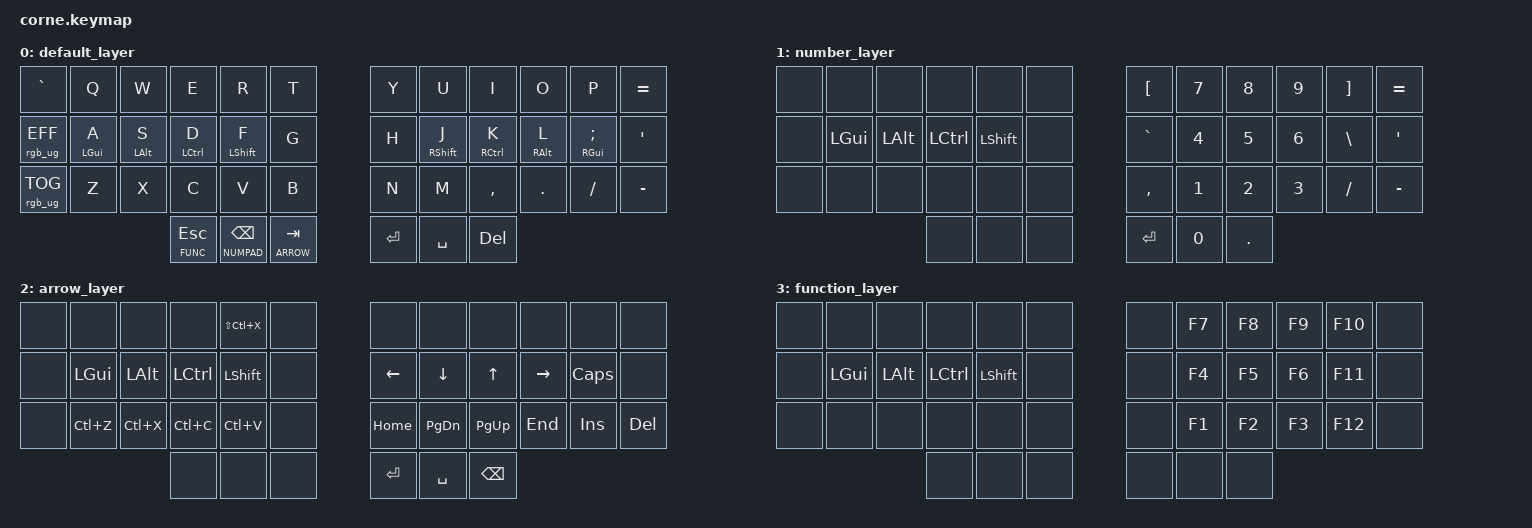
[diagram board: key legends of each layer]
/*
 * Copyright (c) 2020 The ZMK Contributors
 *
 * SPDX-License-Identifier: MIT
 */

#include <behaviors.dtsi>
#include <dt-bindings/zmk/keys.h>
#include <dt-bindings/zmk/bt.h>
#include <dt-bindings/zmk/rgb.h>

#define DEFAULT 0
#define NUMPAD 1
#define ARROW 2
#define FUNC 3


&lt {
        quick-tap-ms = <175>;
        tapping-term-ms = <250>;
};

/ {

        behaviors {        
                hm: homerow_mods {
                        compatible = "zmk,behavior-hold-tap";
                        label = "HOMEROW_MODS";
                        #binding-cells = <2>;
                        tapping-term-ms = <250>;
                        quick-tap-ms = <175>;
                        flavor = "tap-preferred";
                        bindings = <&kp>, <&kp>;
                };
        };

        keymap {
                compatible = "zmk,keymap";

                default_layer {
                        bindings = <
//╭─────────────────┬─────────────────┬─────────────────┬─────────────────┬─────────────────┬─────────────────╮ ╭─────────────────┬─────────────────┬─────────────────┬─────────────────┬─────────────────┬─────────────────╮
       &kp GRAVE           &kp Q             &kp W             &kp E             &kp R              &kp T             &kp Y              &kp U             &kp I             &kp O              &kp P          &kp EQUAL
//┤─────────────────┼─────────────────┼─────────────────┼─────────────────┼─────────────────┼─────────────────┤ ├─────────────────┼─────────────────┼─────────────────┼─────────────────┼─────────────────┼─────────────────┤
    &rgb_ug RGB_EFF     &hm LGUI A        &hm LALT S        &hm LCTRL D       &hm LSHIFT F          &kp G             &kp H          &hm RSHIFT J       &hm RCTRL K        &hm RALT L       &hm RGUI SEMI       &kp SQT
//┤─────────────────┼─────────────────┼─────────────────┼─────────────────┼─────────────────┼─────────────────┤ ├─────────────────┼─────────────────┼─────────────────┼─────────────────┼─────────────────┼─────────────────┤
    &rgb_ug RGB_TOG        &kp Z             &kp X             &kp C             &kp V              &kp B             &kp N              &kp M           &kp COMMA          &kp DOT           &kp FSLH         &kp MINUS
//╰─────────────────┴─────────────────┴─────────────────┼─────────────────┼─────────────────┼─────────────────┤ ├─────────────────┼─────────────────┼─────────────────┼─────────────────┴─────────────────┴─────────────────╯
                                                            &lt FUNC ESC    &lt NUMPAD BSPC    &lt ARROW TAB          &kp RET           &kp SPACE         &kp DEL
//                                                      ╰─────────────────┴─────────────────┴─────────────────╯ ╰─────────────────┴─────────────────┴─────────────────╯                            
                        >;
                };
                number_layer {
                        bindings = <
//╭─────────────────┬─────────────────┬─────────────────┬─────────────────┬─────────────────┬─────────────────╮ ╭─────────────────┬─────────────────┬─────────────────┬─────────────────┬─────────────────┬─────────────────╮
         &none             &none             &none              &none            &none             &none             &kp LBKT            &kp N7            &kp N8            &kp N9          &kp RBKT          &kp EQUAL
//┤─────────────────┼─────────────────┼─────────────────┼─────────────────┼─────────────────┼─────────────────┤ ├─────────────────┼─────────────────┼─────────────────┼─────────────────┼─────────────────┼─────────────────┤
         &none            &kp LGUI          &kp LALT          &kp LCTRL        &kp LSHIFT          &none             &kp GRAVE           &kp N4            &kp N5            &kp N6          &kp BSLH          &kp SQT
//┤─────────────────┼─────────────────┼─────────────────┼─────────────────┼─────────────────┼─────────────────┤ ├─────────────────┼─────────────────┼─────────────────┼─────────────────┼─────────────────┼─────────────────┤
         &none             &none             &none              &none            &none             &none             &kp COMMA           &kp N1            &kp N2            &kp N3          &kp FSLH          &kp MINUS
//╰─────────────────┴─────────────────┴─────────────────┼─────────────────┼─────────────────┼─────────────────┤ ├─────────────────┼─────────────────┼─────────────────┼─────────────────┴─────────────────┴─────────────────╯
                                                                &none            &none             &none              &kp RET            &kp N0            &kp DOT
//                                                      ╰─────────────────┴─────────────────┴─────────────────╯ ╰─────────────────┴─────────────────┴─────────────────╯                            

                        >;
                };
                arrow_layer {
                        bindings = <
//╭─────────────────┬─────────────────┬─────────────────┬─────────────────┬─────────────────┬─────────────────╮ ╭─────────────────┬─────────────────┬─────────────────┬─────────────────┬─────────────────┬─────────────────╮
         &none             &none             &none              &none       &kp LS(LC(X))          &none              &none               &none             &none            &none             &none            &none
//┤─────────────────┼─────────────────┼─────────────────┼─────────────────┼─────────────────┼─────────────────┤ ├─────────────────┼─────────────────┼─────────────────┼─────────────────┼─────────────────┼─────────────────┤
         &none           &kp LGUI          &kp LALT          &kp LCTRL         &kp LSHIFT          &none            &kp LEFT            &kp DOWN           &kp UP          &kp RIGHT          &kp CAPS          &none
//┤─────────────────┼─────────────────┼─────────────────┼─────────────────┼─────────────────┼─────────────────┤ ├─────────────────┼─────────────────┼─────────────────┼─────────────────┼─────────────────┼─────────────────┤
         &none           &kp LC(Z)         &kp LC(X)         &kp LC(C)         &kp LC(V)           &none            &kp HOME           &kp PG_DN         &kp PG_UP          &kp END          &kp INSERT        &kp DEL
//╰─────────────────┴─────────────────┴─────────────────┼─────────────────┼─────────────────┼─────────────────┤ ├─────────────────┼─────────────────┼─────────────────┼─────────────────┴─────────────────┴─────────────────╯
                                                               &none            &none              &none              &kp RET          &kp SPACE        &kp BKSP
//                                                      ╰─────────────────┴─────────────────┴─────────────────╯ ╰─────────────────┴─────────────────┴─────────────────╯                            

                        >;
                };
                function_layer {
                        bindings = <
//╭─────────────────┬─────────────────┬─────────────────┬─────────────────┬─────────────────┬─────────────────╮ ╭─────────────────┬─────────────────┬─────────────────┬─────────────────┬─────────────────┬─────────────────╮
         &none              &none            &none            &none             &none              &none              &none            &kp F7             &kp F8            &kp F9           &kp F10             &none
//┤─────────────────┼─────────────────┼─────────────────┼─────────────────┼─────────────────┼─────────────────┤ ├─────────────────┼─────────────────┼─────────────────┼─────────────────┼─────────────────┼─────────────────┤
         &none            &kp LGUI          &kp LALT         &kp LCTRL        &kp LSHIFT           &none              &none            &kp F4             &kp F5            &kp F6           &kp F11             &none
//┤─────────────────┼─────────────────┼─────────────────┼─────────────────┼─────────────────┼─────────────────┤ ├─────────────────┼─────────────────┼─────────────────┼─────────────────┼─────────────────┼─────────────────┤
         &none              &none            &none            &none             &none              &none              &none            &kp F1             &kp F2            &kp F3           &kp F12             &none
//╰─────────────────┴─────────────────┴─────────────────┼─────────────────┼─────────────────┼─────────────────┤ ├─────────────────┼─────────────────┼─────────────────┼─────────────────┴─────────────────┴─────────────────╯
                                                               &none             &none             &none              &none             &none             &none
//                                                      ╰─────────────────┴─────────────────┴─────────────────╯ ╰─────────────────┴─────────────────┴─────────────────╯                            

                        >;
                };
        };
};
